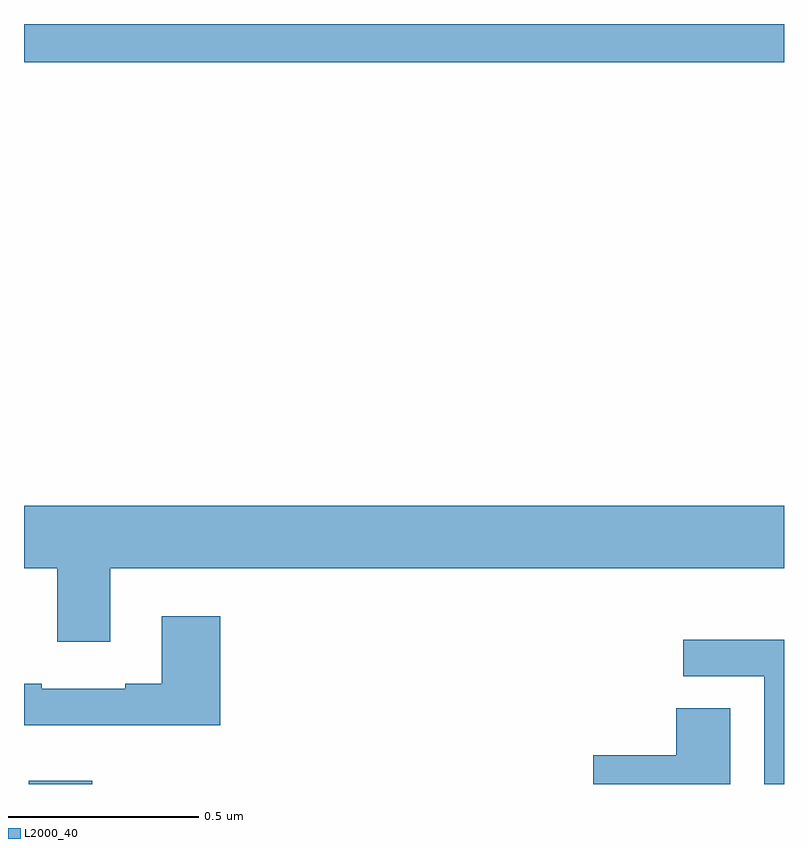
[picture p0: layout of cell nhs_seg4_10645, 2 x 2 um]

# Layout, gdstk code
import gdstk
lib = gdstk.Library(unit=1e-6, precision=1e-09)
def R(c, l, rs):  # rectangles x0, y0, x1, y1
    for r in rs: c.add(gdstk.rectangle(r[:2], r[2:], *l))
def P(c, l, *ps):  # polygons
    for p in ps: c.add(gdstk.Polygon(p, *l))
L2000_40 = (2000, 40)

nhs_seg4_10645 = lib.new_cell('nhs_seg4_10645')
R(nhs_seg4_10645, L2000_40, [(242.012,814.9,242.179,814.909), (242,816.8,244,816.9)])
P(nhs_seg4_10645, L2000_40, [(242.227,815.468),(244,815.468),(244,815.632),(242,815.632),(242,815.468),(242.087,815.468),(242.087,815.274),(242.227,815.274)],
  [(242.516,815.341),(242.363,815.341),(242.363,815.164),(242.267,815.164),(242.267,815.151),(242.047,815.151),(242.047,815.164),(242,815.164),(242,815.054),(242.516,815.054)],
  [(244,815.28),(243.735,815.28),(243.735,815.184),(243.948,815.184),(243.948,814.9),(244,814.9)],
  [(243.859,815.099),(243.716,815.099),(243.716,814.976),(243.498,814.976),(243.498,814.9),(243.859,814.9)])

lib.write_gds('nhs_seg4_10645.gds')
